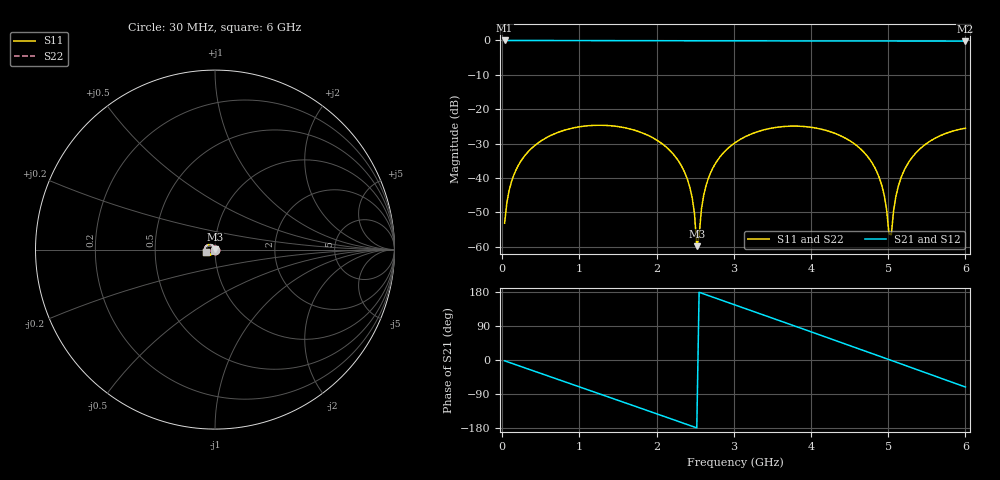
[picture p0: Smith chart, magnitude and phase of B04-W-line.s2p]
! yapnr Order 0 O0-W: O0-W B04 W dL34 (line, family W)
! stackup OSHPARK-4L-EM528, nominal parameters; geometry of the OSHPARK-4L-FR408HR design
! model: 2D quasi-static RLGC (Djordjevic-Sarkar, Huray roughness, Wheeler loss); generated by python -m yapnr.rf.coupons expected --stackup OSHPARK-4L-FR408HR --upload W
! reference planes 10 mm from each end; 50 ohm (from the W line's Zc)
# GHz S DB R 50
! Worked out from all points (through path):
!   200 points, 30 MHz to 6 GHz, reference 50 ohm
!   highest |S21| = 0.00 dB at 30 MHz (marker M1); lowest = -0.2 dB at 6 GHz (marker M2)
!   group delay of S21, straight-line fit = 200 ps
!   lowest |S11| = -59.8 dB at 2.52 GHz (marker M3), VSWR 1.00, Z = 49.9 + j0.0847 ohm
!   |S11| at or under -10 dB: start of sweep to end of sweep
!   |S22| runs from -59.8 to -24.6 dB; largest |S21 - S12| = 0
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0.03  -53.11 -88.4  -0.00 -2.1  -0.00 -2.1  -53.11 -88.4
0.12  -40.99 -97.7  -0.01 -8.6  -0.01 -8.6  -40.99 -97.7
0.3  -33.24 -111.5  -0.02 -21.3  -0.02 -21.3  -33.24 -111.5
1.05  -24.93 -165.4  -0.05 -74.5  -0.05 -74.5  -24.93 -165.4
1.53  -25.14 160.6  -0.07 -108.5  -0.07 -108.5  -25.14 160.6
2.04  -29.53 124.7  -0.08 -144.8  -0.08 -144.8  -29.53 124.7
2.4  -40.47 101.6  -0.08 -170.6  -0.08 -170.6  -40.47 101.6
2.49  -50.29 102.6  -0.09 -177.0  -0.09 -177.0  -50.29 102.6
2.52  -59.79 124.2  -0.09 -179.2  -0.09 -179.2  -59.79 124.2
2.61  -44.94 -102.8  -0.09 174.4  -0.09 174.4  -44.94 -102.8
2.67  -40.07 -104.6  -0.09 170.1  -0.09 170.1  -40.07 -104.6
3.03  -29.50 -127.9  -0.11 144.2  -0.11 144.2  -29.50 -127.9
3.54  -25.29 -163.9  -0.13 107.6  -0.13 107.6  -25.29 -163.9
4.02  -25.30 161.9  -0.15 73.0  -0.15 73.0  -25.30 161.9
4.77  -34.87 110.3  -0.16 18.6  -0.16 18.6  -34.87 110.3
4.92  -42.36 104.2  -0.16 7.7  -0.16 7.7  -42.36 104.2
5.01  -56.24 133.8  -0.17 1.1  -0.17 1.1  -56.24 133.8
5.04  -56.47 -138.4  -0.17 -1.1  -0.17 -1.1  -56.47 -138.4
5.07  -49.44 -113.4  -0.17 -3.2  -0.17 -3.2  -49.44 -113.4
5.13  -42.44 -107.3  -0.17 -7.6  -0.17 -7.6  -42.44 -107.3
5.28  -34.91 -113.4  -0.18 -18.6  -0.18 -18.6  -34.91 -113.4
6  -25.52 -163.2  -0.21 -71.3  -0.21 -71.3  -25.52 -163.2
